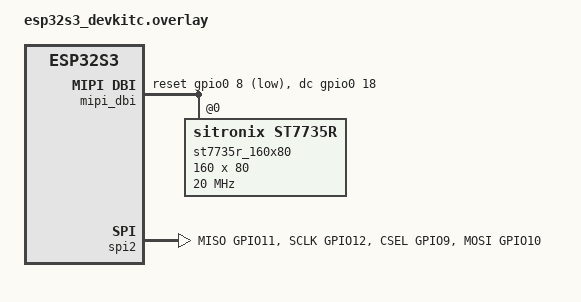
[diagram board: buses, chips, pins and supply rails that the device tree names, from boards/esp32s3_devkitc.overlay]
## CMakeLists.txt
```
cmake_minimum_required(VERSION 3.20.0)

find_package(Zephyr REQUIRED HINTS $ENV{ZEPHYR_BASE})
project(lvgl_ui)

FILE(GLOB app_sources src/*.c)
target_sources(app PRIVATE ${app_sources})
```

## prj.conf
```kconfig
# Display + LVGL (v8) for ST7735R 160x80. Read every line — look each up in menuconfig.
CONFIG_MAIN_STACK_SIZE=4096
CONFIG_DISPLAY=y
CONFIG_LVGL=y
CONFIG_LV_MEM_CUSTOM=y
CONFIG_LV_Z_BITS_PER_PIXEL=16
CONFIG_LV_COLOR_16_SWAP=y
CONFIG_LV_Z_MEM_POOL_SIZE=8192
CONFIG_LV_CONF_MINIMAL=y
CONFIG_LV_USE_LABEL=y
CONFIG_LV_LABEL_TEXT_SELECTION=y
CONFIG_LV_LABEL_LONG_TXT_HINT=y
CONFIG_LV_USE_LINE=y
CONFIG_LV_FONT_MONTSERRAT_20=y
```

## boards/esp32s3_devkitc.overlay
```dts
/* Lesson 10 — ST7735R 0.96" 160x80 over SPI2 (MIPI-DBI).
 * Wiring: SCK GPIO12, MOSI GPIO10, CS GPIO9, DC GPIO18, RST GPIO8, VCC/BLK 3V3, GND.
 * Panel init values come from the course (Adafruit 3533-compatible panel). Study, don't memorize.
 */
#include <zephyr/dt-bindings/mipi_dbi/mipi_dbi.h>

/ {
	chosen {
		zephyr,display = &st7735r_160x80;
	};

	mipi_dbi {
		compatible = "zephyr,mipi-dbi-spi";
		spi-dev = <&spi2>;
		dc-gpios = <&gpio0 18 GPIO_ACTIVE_HIGH>;
		reset-gpios = <&gpio0 8 GPIO_ACTIVE_LOW>;
		#address-cells = <1>;
		#size-cells = <0>;

		st7735r_160x80: st7735r@0 {
			compatible = "sitronix,st7735r";
			reg = <0>;
			mipi-max-frequency = <20000000>;
			mipi-mode = <MIPI_DBI_MODE_SPI_4WIRE>;
			width = <160>;
			height = <80>;
			inversion-on;
			rgb-is-inverted;
			x-offset = <1>;
			y-offset = <26>;
			pwctr1 = [A2 02 84];
			pwctr2 = [C5];
			pwctr3 = [0A 00];
			pwctr4 = [8A 2A];
			pwctr5 = [8A EE];
			invctr = <7>;
			frmctr1 = [01 2C 2D];
			frmctr2 = [01 2C 2D];
			frmctr3 = [01 2C 2D 01 2C 2D];
			vmctr1 = <14>;
			gamctrp1 = [02 1C 07 12 37 32 29 2D 29 25 2B 39 00 01 03 10];
			gamctrn1 = [03 1D 07 06 2E 2C 29 2D 2E 2E 37 3F 00 00 02 10];
			colmod = <5>;
			madctl = <184>;	/* rotation + RGB order — try other values and see */
			caset = [00 01 00 a0];
			raset = [00 1a 00 69];
		};
	};
};

&spi2 {
	pinctrl-0 = <&spi2_custom_pins>;
	status = "okay";
};

&pinctrl {
	spi2_custom_pins: spi2_custom_pins {
		group1 {
			pinmux = <SPIM2_MISO_GPIO11>,
				 <SPIM2_SCLK_GPIO12>,
				 <SPIM2_CSEL_GPIO9>;
		};
		group2 {
			pinmux = <SPIM2_MOSI_GPIO10>;
			output-low;
		};
	};
};
```

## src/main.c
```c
/*
 * Lesson 10 — LVGL (v8 API!)
 *   1. Get the display: DEVICE_DT_GET(DT_CHOSEN(zephyr_display)); device_is_ready()
 *   2. "Hello, World!" label at LV_ALIGN_TOP_MID; counter label at bottom (font montserrat_20)
 *   3. Draw a rectangle with lv_line (5 points) and a red circle (lv_obj + radius style)
 *   4. display_blanking_off(); loop: lv_task_handler() every 50 ms
 *   Challenge: animate the circle left->right across lv_disp_get_hor_res(NULL)
 *   Go deeper: show live MCP9808 temperature (reuse lesson 8's queue).
 * Rule: lv_style_t objects must outlive the objects using them (make them static).
 */
#include <zephyr/kernel.h>
#include <zephyr/drivers/display.h>
#include <lvgl.h>

int main(void)
{
	const struct device *display = DEVICE_DT_GET(DT_CHOSEN(zephyr_display));

	if (!device_is_ready(display)) {
		printk("Error: display not ready\r\n");
		return 0;
	}

	/* TODO: widgets */

	display_blanking_off(display);

	while (1) {
		lv_task_handler();
		k_msleep(50);
	}
	return 0;
}
```
